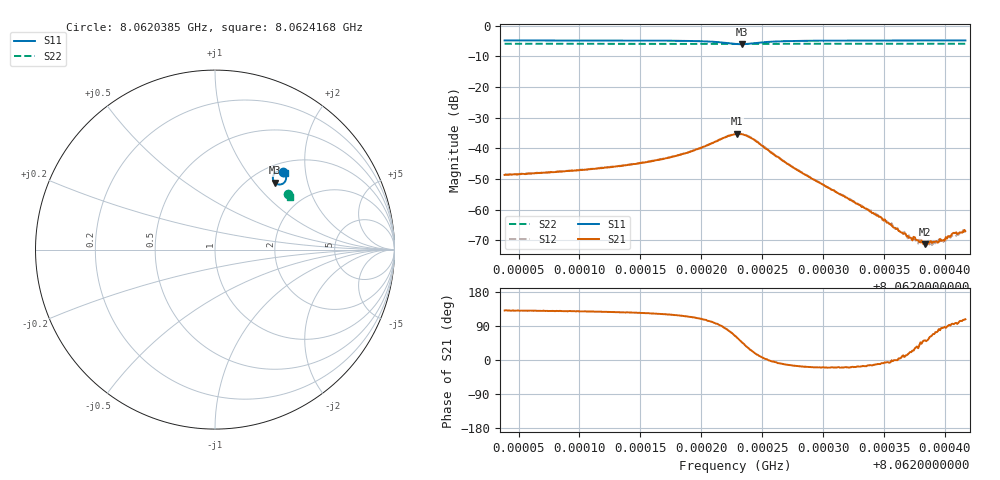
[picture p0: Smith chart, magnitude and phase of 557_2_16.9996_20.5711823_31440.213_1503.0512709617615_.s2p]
#  HZ  S  RI  R  50.00
! Rohde & Schwarz Vector Network Analyzer
! Rohde-Schwarz,ZNB20-2Port,1311601062101988,3.16
! Created: UTC 3/20/2024, 11:17:03 PM
! freq[Hz]  re:S11  im:S11  re:S21  im:S21  re:S12  im:S12  re:S22  im:S22
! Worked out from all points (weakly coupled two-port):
!   401 points, 8.0620385 GHz to 8.0624168 GHz, reference 50 ohm
!   highest |S21| = -35.27 dB at 8.0622296 GHz (marker M1); lowest = -71.3 dB at 8.0623837 GHz (marker M2)
!   lowest |S11| = -6.0 dB at 8.0622333 GHz (marker M3), VSWR 3.00, Z = 64.1 + j63.9 ohm
!   |S11| at or under -10 dB: nowhere
!   |S22| runs from -5.9 to -5.9 dB; largest |S21 - S12| = 0.0012
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8.06203854e9  0.3796 0.4333  -0.00239 0.00279  -0.00221 0.00296  0.4041 0.3091
8.0621019e9  0.3853 0.4274  -0.00274 0.00346  -0.00256 0.00365  0.4064 0.3059
8.06213499e9  0.3889 0.4228  -0.00304 0.00423  -0.0028 0.00442  0.4077 0.3042
8.06216525e9  0.3929 0.4157  -0.00342 0.0055  -0.00309 0.00576  0.4087 0.3024
8.06219078e9  0.3961 0.4033  -0.00353 0.00801  -0.00307 0.00827  0.4096 0.3004
8.06222766e9  0.3525 0.363  0.00751 0.0152  0.00853 0.015  0.4083 0.2975
8.06222955e9  0.3456 0.3651  0.00903 0.0147  0.00991 0.0142  0.4082 0.2976
8.06223333e9  0.3329 0.3735  0.0116 0.0123  0.0124 0.0117  0.4078 0.298
8.06224184e9  0.3223 0.4026  0.0132 0.00567  0.0137 0.00483  0.408 0.299
8.06226927e9  0.3537 0.4361  0.00572 -0.00121  0.00573 -0.00153  0.4108 0.2989
8.06229102e9  0.3673 0.4358  0.003 -0.00103  0.00297 -0.0012  0.4121 0.2974
8.06233451e9  0.3789 0.4316  0.001 -0.000291  0.00101 -0.000358  0.414 0.295
8.06235437e9  0.382 0.4297  0.000574 -7.53e-05  0.000602 -0.000117  0.4148 0.2941
8.0623695e9  0.384 0.4284  0.000359 9.67e-05  0.000326 8.87e-05  0.4153 0.2932
8.06237612e9  0.3848 0.428  0.000269 0.000177  0.000282 0.000132  0.4155 0.2929
8.06238085e9  0.3853 0.4277  0.000229 0.000214  0.00021 0.000225  0.4157 0.2927
8.06238368e9  0.3856 0.4274  0.000168 0.000214  0.000214 0.000181  0.4159 0.2923
8.06239125e9  0.3864 0.4267  0.000108 0.000274  0.000124 0.000255  0.4161 0.2921
8.06239598e9  0.3868 0.4265  6.59e-05 0.000324  6.83e-05 0.000296  0.4162 0.2919
8.06239976e9  0.3871 0.4262  1.26e-05 0.000311  2.23e-05 0.000327  0.4164 0.2916
8.06240732e9  0.388 0.4257  -3.31e-05 0.000415  -3.26e-05 0.000377  0.4167 0.2912
8.06241678e9  0.3888 0.425  -0.000134 0.000423  -6.96e-05 0.000426  0.4168 0.2907
